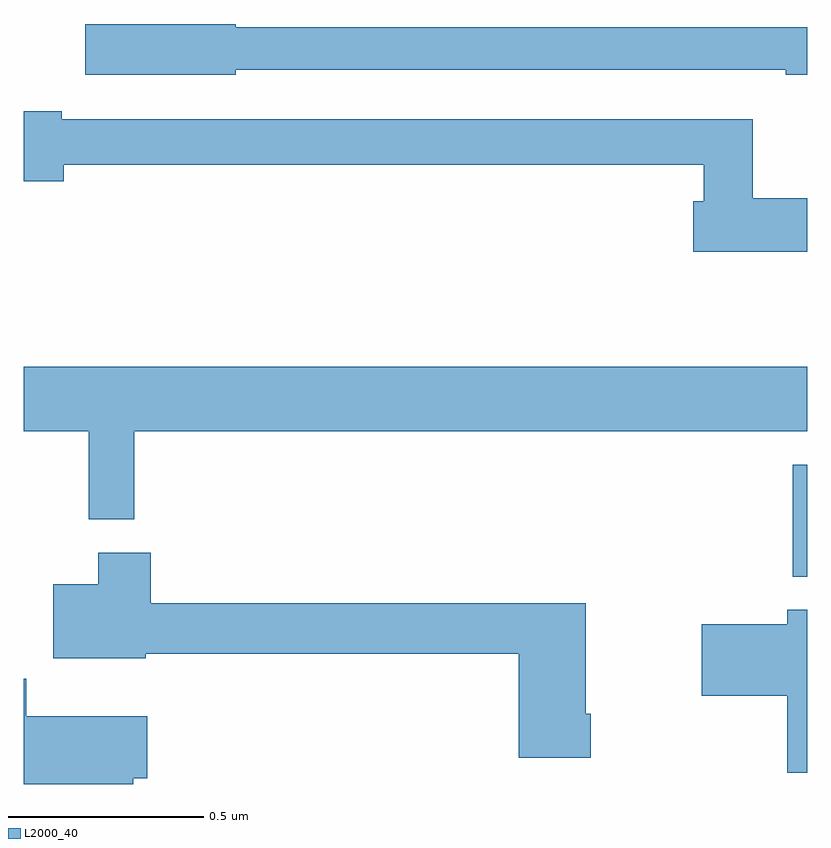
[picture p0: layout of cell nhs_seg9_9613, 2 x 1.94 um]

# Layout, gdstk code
import gdstk
lib = gdstk.Library(unit=1e-6, precision=1e-09)
def R(c, l, rs):  # rectangles x0, y0, x1, y1
    for r in rs: c.add(gdstk.rectangle(r[:2], r[2:], *l))
def P(c, l, *ps):  # polygons
    for p in ps: c.add(gdstk.Polygon(p, *l))
L2000_40 = (2000, 40)

nhs_seg9_9613 = lib.new_cell('nhs_seg9_9613')
R(nhs_seg9_9613, L2000_40, [(233.963,1216.029,234,1216.315)])
P(nhs_seg9_9613, L2000_40, [(232.542,1217.322),(233.944,1217.322),(233.944,1217.31),(234,1217.31),(234,1217.431),(232.542,1217.431),(232.542,1217.439),(232.158,1217.439),(232.158,1217.309),(232.542,1217.309)],
  [(234,1216.995),(233.86,1216.995),(233.86,1217.196),(232.098,1217.196),(232.098,1217.216),(232,1217.216),(232,1217.038),(232.102,1217.038),(232.102,1217.08),(233.735,1217.08),(233.735,1216.987),(233.708,1216.987),(233.708,1216.858),(234,1216.858)],
  [(232.283,1216.4),(234,1216.4),(234,1216.564),(232,1216.564),(232,1216.4),(232.166,1216.4),(232.166,1216.175),(232.283,1216.175)],
  [(233.447,1215.679),(233.434,1215.679),(233.434,1215.961),(232.325,1215.961),(232.325,1216.09),(232.19,1216.09),(232.19,1216.009),(232.076,1216.009),(232.076,1215.821),(232.312,1215.821),(232.312,1215.832),(233.264,1215.832),(233.264,1215.567),(233.447,1215.567)],
  [(234,1215.944),(233.948,1215.944),(233.948,1215.908),(233.73,1215.908),(233.73,1215.725),(233.948,1215.725),(233.948,1215.529),(234,1215.529)],
  [(232.28,1215.515),(232.315,1215.515),(232.315,1215.673),(232.007,1215.673),(232.007,1215.769),(232,1215.769),(232,1215.5),(232.28,1215.5)])

lib.write_gds('nhs_seg9_9613.gds')
